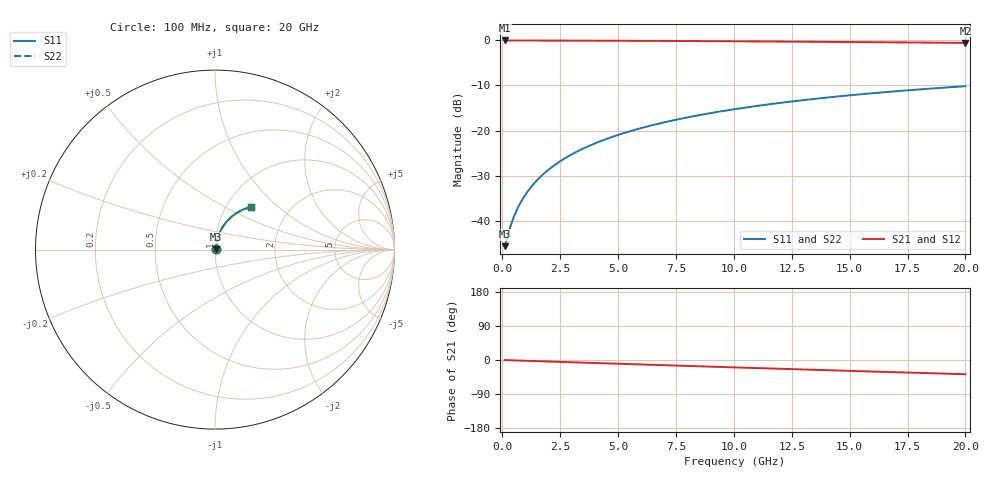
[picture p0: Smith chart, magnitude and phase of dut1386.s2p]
! Touchstone file exported from HFSS 2026.1.0
!  File:  C:/ffzhzh/LocalFiles/Ansys_Project_Files/temp_train_BSMRDL_1386_1783179634_22436.aedt
!  Generated:  11:41:43 PM Jul  4, 2026
!  Design:  BSMRDL
!  Project:  temp_train_BSMRDL_1386_1783179634_22436
! Variables:
!  h_bsmrdl = 3.03um
!  h_ox = 20um
!  h_rdl = 5um
!  h_sub = 80um
!  h_tmrdl = 5um
!  h_tsv = 80um
!  h_via = 3um
!  l_bsmrdl = 581.82um
!  l_sub = 981.82um
!  l_tmrdl = 200um
!  m_sub = 200um
!  pitch = 28.61um
!  r_tsv = 6um
!  s_tmrdl = 10um
!  w_bsmrdl = 14.25um
!  w_sub = 500um
!  w_tmrdl = 12um
!  x_tsv_center1 = 206um
!  x_tsv_center2 = 802.07um
!  x_tsv_center3 = 1014.07um
!  x_tsv_center4 = 1610.14um
!  x_tsv_center5 = 1822.14um
!  x_tsv_center6 = 2418.21um
# GHz S MA R 50.000000
! Terminal data exported
! Port[1] = BSM_RDL1_1_T1
! Port[2] = BSM_RDL1_1_T2
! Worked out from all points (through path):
!   200 points, 100 MHz to 20 GHz, reference 50 ohm
!   highest |S21| = -0.04 dB at 100 MHz (marker M1); lowest = -0.6 dB at 20 GHz (marker M2)
!   group delay of S21, straight-line fit = 5.21 ps
!   lowest |S11| = -45.5 dB at 100 MHz (marker M3), VSWR 1.01, Z = 50.5 + j0.205 ohm
!   |S11| at or under -10 dB: start of sweep to end of sweep
!   |S22| runs from -45.5 to -10.2 dB; largest |S21 - S12| = 4.8e-15
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0.1  0.005292 22.6  0.9951 -0.2  0.9951 -0.2  0.005292 22.6
! Gamma 0 0 0 0
! Port Impedance 50 0 50 0
0.4  0.009525 55.4  0.9947 -0.8  0.9947 -0.8  0.009525 55.4
0.5  0.01119 59.9  0.9945 -1.0  0.9945 -1.0  0.01119 59.9
0.6  0.01287 63.1  0.9944 -1.2  0.9944 -1.2  0.01287 63.1
0.7  0.01456 65.5  0.9942 -1.4  0.9942 -1.4  0.01456 65.5
0.9  0.01797 69.1  0.994 -1.8  0.994 -1.8  0.01797 69.1
1.2  0.02313 72.4  0.9937 -2.4  0.9937 -2.4  0.02313 72.4
1.4  0.02661 73.8  0.9935 -2.8  0.9935 -2.8  0.02661 73.8
1.7  0.03186 75.2  0.9932 -3.4  0.9932 -3.4  0.03186 75.2
2.2  0.04067 76.4  0.9927 -4.4  0.9927 -4.4  0.04067 76.4
2.8  0.05128 76.9  0.992 -5.6  0.992 -5.6  0.05128 76.9
3.5  0.06363 76.7  0.991 -7.0  0.991 -7.0  0.06363 76.7
4.2  0.07592 76.1  0.9898 -8.3  0.9898 -8.3  0.07592 76.1
5  0.08984 75.1  0.9882 -9.9  0.9882 -9.9  0.08984 75.1
5.9  0.1053 73.8  0.9862 -11.7  0.9862 -11.7  0.1053 73.8
6.8  0.1205 72.4  0.9839 -13.4  0.9839 -13.4  0.1205 72.4
8.3  0.1453 69.9  0.9797 -16.3  0.9797 -16.3  0.1453 69.9
10.1  0.1741 66.8  0.9739 -19.7  0.9739 -19.7  0.1741 66.8
11.7  0.1987 63.9  0.9683 -22.7  0.9683 -22.7  0.1987 64.0
13.4  0.2237 61.0  0.962 -25.8  0.962 -25.8  0.2237 61.0
16.7  0.2692 55.3  0.9491 -31.7  0.9491 -31.7  0.2693 55.3
20  0.3105 49.7  0.9355 -37.5  0.9355 -37.5  0.3105 49.8
